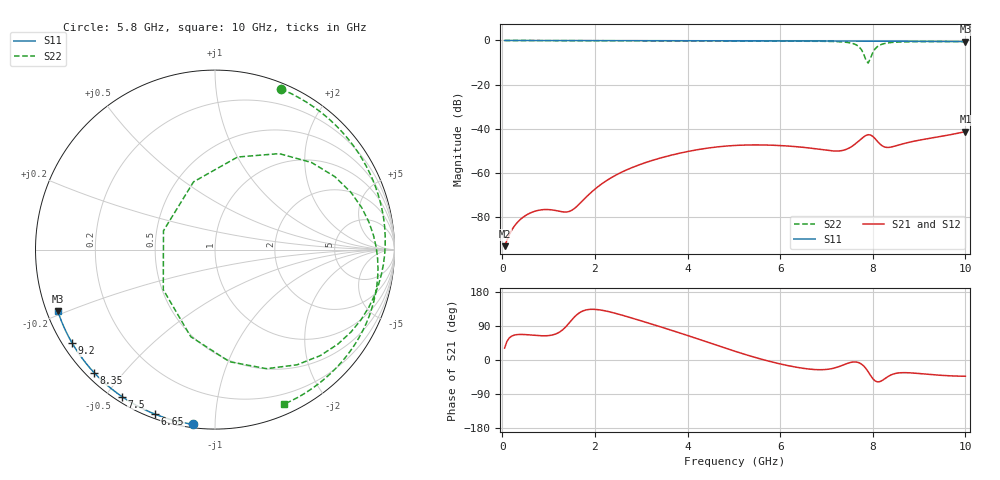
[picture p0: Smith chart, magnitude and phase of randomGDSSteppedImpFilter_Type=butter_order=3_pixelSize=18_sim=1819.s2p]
! freq	dB(S11)	phase(S11)	dB(S12)	phase(S12)
!  dB(S21)	phase(S21)	dB(S22)	phase(S22)
!S-par simulation data
#  GHz  S  DB  R 50
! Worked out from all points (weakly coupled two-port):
!   200 points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, 50 MHz to 10 GHz, reference 50 ohm
!   highest |S21| = -41.27 dB at 10 GHz (marker M1); lowest = -93.1 dB at 50 MHz (marker M2)
!   lowest |S11| = -0.5 dB at 10 GHz (marker M3), VSWR 32.59, Z = 1.59 - j9.41 ohm
!   |S11| at or under -10 dB: nowhere
!   |S22| runs from -10.3 to 0.0 dB; largest |S21 - S12| = 0
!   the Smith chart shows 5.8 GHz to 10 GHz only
!   S11 on the Smith chart (normalised r, x): 5.8 GHz: 0.02, -0.88; 6.65 GHz: 0.02, -0.70; 7.5 GHz: 0.02, -0.55; 8.35 GHz: 0.02, -0.42; 9.2 GHz: 0.03, -0.30; 10 GHz: 0.03, -0.19
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0.05  -0.01 -0.9  -93.15 31.5  -93.15 31.5  -0.01 -3.1
0.95  -0.02 -17.2  -76.55 64.0  -76.55 64.0  -0.07 -56.0
1.45  -0.03 -26.1  -77.39 98.6  -77.39 98.6  -0.10 -83.7
1.75  -0.04 -31.4  -72.22 129.9  -72.22 129.9  -0.12 -99.7
2.6  -0.06 -46.1  -59.42 117.8  -59.42 117.8  -0.16 -142.3
3.4  -0.08 -59.5  -53.32 88.2  -53.32 88.2  -0.19 179.8
4.15  -0.10 -71.8  -49.70 58.6  -49.70 58.6  -0.22 145.1
5.05  -0.13 -85.9  -47.52 22.1  -47.52 22.1  -0.26 103.1
5.8  -0.17 -97.3  -47.42 -4.5  -47.42 -4.5  -0.29 67.6
6.65  -0.21 -109.9  -48.75 -24.2  -48.75 -24.2  -0.34 26.3
6.7  -0.22 -110.7  -48.88 -24.8  -48.88 -24.8  -0.34 23.7
7.2  -0.25 -117.9  -50.08 -20.2  -50.08 -20.2  -0.52 -5.0
7.5  -0.27 -122.3  -48.60 -7.1  -48.60 -7.1  -1.05 -31.1
7.75  -0.29 -125.9  -44.59 -10.3  -44.59 -10.3  -4.01 -82.6
7.85  -0.30 -127.3  -43.05 -22.2  -43.05 -22.2  -8.76 -142.2
7.9  -0.31 -128.0  -42.68 -30.9  -42.68 -30.9  -10.30 159.9
7.95  -0.31 -128.8  -42.79 -40.5  -42.79 -40.5  -8.04 107.6
8.05  -0.32 -130.2  -44.48 -55.1  -44.48 -55.1  -3.83 56.2
8.2  -0.33 -132.4  -47.67 -54.3  -47.67 -54.3  -1.70 22.8
8.35  -0.35 -134.5  -48.42 -42.1  -48.42 -42.1  -1.04 5.1
9.2  -0.44 -146.8  -44.42 -37.8  -44.42 -37.8  -0.51 -40.0
10  -0.53 -158.7  -41.27 -42.8  -41.27 -42.8  -0.51 -65.9
